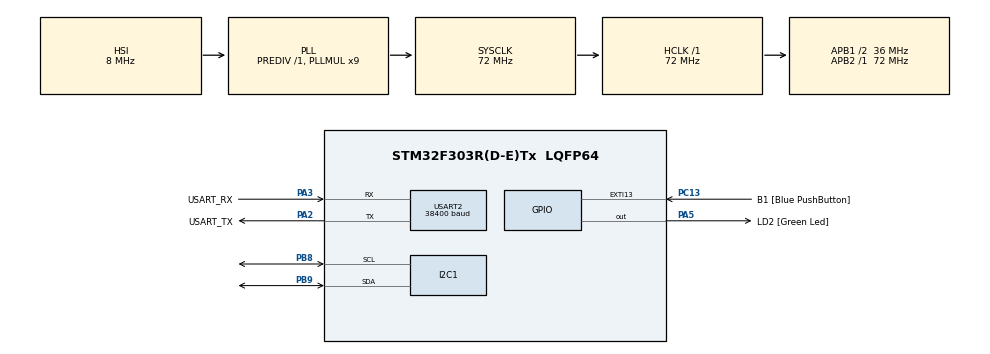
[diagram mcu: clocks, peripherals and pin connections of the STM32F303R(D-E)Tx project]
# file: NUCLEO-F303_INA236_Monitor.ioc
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I2C1.Timing=0x00201D2B
Mcu.Family=STM32F3
Mcu.Name=STM32F303R(D-E)Tx
Mcu.Package=LQFP64
NVIC.PriorityGroup=NVIC_PRIORITYGROUP_0
NVIC.USART2_IRQn=true\:0\:0\:false\:false\:true\:true\:true\:true
PA13.GPIO_Label=TMS
PA13.Mode=Serial_Wire
PA13.Signal=SYS_JTMS-SWDIO
PA14.GPIO_Label=TCK
PA14.Mode=Serial_Wire
PA14.Signal=SYS_JTCK-SWCLK
PA2.GPIO_Label=USART_TX
PA2.GPIO_Mode=GPIO_MODE_AF_PP
PA2.GPIO_PuPd=GPIO_NOPULL
PA2.GPIO_Speed=GPIO_SPEED_FREQ_LOW
PA2.Mode=Asynchronous
PA2.Signal=USART2_TX
PA3.GPIO_Label=USART_RX
PA3.GPIO_Mode=GPIO_MODE_AF_PP
PA3.GPIO_PuPd=GPIO_NOPULL
PA3.GPIO_Speed=GPIO_SPEED_FREQ_LOW
PA3.Mode=Asynchronous
PA3.Signal=USART2_RX
PA5.GPIO_Label=LD2 [Green Led]
PA5.GPIO_Mode=GPIO_MODE_OUTPUT_PP
PA5.GPIO_PuPd=GPIO_NOPULL
PA5.GPIO_Speed=GPIO_SPEED_FREQ_LOW
PA5.Signal=GPIO_Output
PB3.GPIO_Label=SWO
PB3.Signal=SYS_JTDO-TRACESWO
PB8.Mode=I2C
PB8.Signal=I2C1_SCL
PB9.Mode=I2C
PB9.Signal=I2C1_SDA
PC13.GPIO_Label=B1 [Blue PushButton]
PC13.GPIO_ModeDefaultEXTI=GPIO_MODE_IT_FALLING
PC13.Signal=GPXTI13
PC14-OSC32_IN.Mode=LSE-External-Oscillator
PC14-OSC32_IN.Signal=RCC_OSC32_IN
PC15-OSC32_OUT.Mode=LSE-External-Oscillator
PC15-OSC32_OUT.Signal=RCC_OSC32_OUT
PF0-OSC_IN.Mode=HSE-External-Clock-Source
PF0-OSC_IN.Signal=RCC_OSC_IN
PF1-OSC_OUT.Signal=RCC_OSC_OUT
ProjectManager.HeapSize=0x200
ProjectManager.StackSize=0x400
ProjectManager.TargetToolchain=CMake
RCC.AHBFreq_Value=72000000
RCC.APB1CLKDivider=RCC_HCLK_DIV2
RCC.APB1Freq_Value=36000000
RCC.APB1TimFreq_Value=72000000
RCC.APB2Freq_Value=72000000
RCC.APB2TimFreq_Value=72000000
RCC.CortexFreq_Value=72000000
RCC.HCLKFreq_Value=72000000
RCC.HSE_VALUE=8000000
RCC.HSI_VALUE=8000000
RCC.PLLM=8
RCC.PLLMUL=RCC_PLL_MUL9
RCC.PLLN=336
RCC.PLLP=RCC_PLLP_DIV4
RCC.PLLQ=7
RCC.RCC_PLLsource_Clock_Source_FROM_HSE=RCC_HSE_PREDIV_DIV2
RCC.SYSCLKFreq_VALUE=72000000
RCC.SYSCLKSourceVirtual=RCC_SYSCLKSOURCE_PLLCLK
RCC.USBFreq_Value=72000000
USART2.BaudRate=38400
USART2.VirtualMode-Asynchronous=VM_ASYNC
board=NUCLEO-F303RE

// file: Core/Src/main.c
/* USER CODE BEGIN Header */
/**
  ******************************************************************************
  * @file           : main.c
  * @brief          : Main program body
  ******************************************************************************
  * @attention
  *
  * Copyright (c) 2026 STMicroelectronics.
  * All rights reserved.
  *
  * This software is licensed under terms that can be found in the LICENSE file
  * in the root directory of this software component.
  * If no LICENSE file comes with this software, it is provided AS-IS.
  *
  ******************************************************************************
  */
/* USER CODE END Header */
#include "main.h"

/* USER CODE BEGIN Includes */
#include <INA236.h>
#include <stdio.h>
#include <string.h>
/* USER CODE END Includes */

/* USER CODE BEGIN PTD */
INA236_HandleTypeDef ina236;
/* USER CODE END PTD */

/* USER CODE BEGIN PD */
#define RX_BUFFER_SIZE 64
/* USER CODE END PD */

I2C_HandleTypeDef hi2c1;

UART_HandleTypeDef huart2;

/* USER CODE BEGIN PV */
__IO ITStatus UartReady = SET;

// Variables used to set calibration register
static int maxCurrent       = 2;
static double shuntResistor = 0.01;

// output parameters
static double shuntVoltage  = 0.0;
static double busVoltage    = 0.0;
static double current       = 0.0;
static double power         = 0.0;

// variable used to know is the device is ready to read the registers
_Bool dataReady             = 0;

char shuntVoltageStr[50];
char busVoltageStr[50];
char loadVoltageStr[50];
char currentStr[50];
char powerStr[50];

// Definir el bucle de recepción y la variable de control
char rxBuffer[RX_BUFFER_SIZE];
uint8_t rxIndex = 0;

uint8_t rxByte = 0;
volatile _Bool commandReady = 0;
/* USER CODE END PV */

void SystemClock_Config(void);
static void MX_GPIO_Init(void);
static void MX_I2C1_Init(void);
static void MX_USART2_UART_Init(void);
/* USER CODE BEGIN PFP */
void checkUartInput(void);
/* USER CODE END PFP */

int main(void)
{

  /* MCU Configuration--------------------------------------------------------*/

  /* Reset of all peripherals, Initializes the Flash interface and the Systick. */
  HAL_Init();

  /* Configure the system clock */
  SystemClock_Config();

  /* Initialize all configured peripherals */
  MX_GPIO_Init();
  MX_I2C1_Init();
  MX_USART2_UART_Init();
  /* USER CODE BEGIN 2 */
  /* Enable USART2 interrupt */
  HAL_NVIC_SetPriority(USART2_IRQn, 0, 0);
  HAL_NVIC_EnableIRQ(USART2_IRQn);

  INA236_Init(&ina236, &hi2c1, INA236_DEFAULT_ADDRESS);
  INA236_SetAverage(&ina236, INA236_256_SAMPLES);
  INA236_SetCalibration(&ina236, shuntResistor, maxCurrent);

  HAL_UART_Receive_IT(&huart2, &rxByte, 1);
  /* USER CODE END 2 */

  /* Infinite loop */
  /* USER CODE BEGIN WHILE */
  while (1)
  {

    // Verificar si se ha recibido algún comando de calibración desde el frontend
    checkUartInput();

    dataReady = INA236_IsConversionReady(&ina236);
	  if (dataReady)
    {
		  shuntVoltage = INA236_GetShuntVoltage_mV(&ina236);
		  busVoltage   = INA236_GetBusVoltage(&ina236);
		  current      = INA236_GetCurrent_A(&ina236);
		  power        = INA236_GetPower_W(&ina236);

      sprintf(shuntVoltageStr, "Shunt Voltage = %.4f mV\r\n", shuntVoltage);
		  HAL_UART_Transmit(&huart2, (uint8_t *)shuntVoltageStr, strlen(shuntVoltageStr), 10);

      sprintf(busVoltageStr, "Bus Voltage = %.2fV\r\n", busVoltage);
      HAL_UART_Transmit(&huart2, (uint8_t *)busVoltageStr, strlen(busVoltageStr), 10);

		  sprintf(currentStr, "Current = %.4f A\r\n", current);
		  HAL_UART_Transmit(&huart2, (uint8_t *)currentStr, strlen(currentStr), 10);

		  sprintf(powerStr, "Power = %.4f W\r\n", power);
		  HAL_UART_Transmit(&huart2, (uint8_t *)powerStr, strlen(powerStr), 10);
	  }
    /* USER CODE END WHILE */

  }
}

void SystemClock_Config(void)
{
  RCC_OscInitTypeDef RCC_OscInitStruct = {0};
  RCC_ClkInitTypeDef RCC_ClkInitStruct = {0};
  RCC_PeriphCLKInitTypeDef PeriphClkInit = {0};

  /** Initializes the RCC Oscillators according to the specified parameters
  * in the RCC_OscInitTypeDef structure.
  */
  RCC_OscInitStruct.OscillatorType = RCC_OSCILLATORTYPE_HSI;
  RCC_OscInitStruct.HSIState = RCC_HSI_ON;
  RCC_OscInitStruct.HSICalibrationValue = RCC_HSICALIBRATION_DEFAULT;
  RCC_OscInitStruct.PLL.PLLState = RCC_PLL_ON;
  RCC_OscInitStruct.PLL.PLLSource = RCC_PLLSOURCE_HSI;
  RCC_OscInitStruct.PLL.PLLMUL = RCC_PLL_MUL9;
  RCC_OscInitStruct.PLL.PREDIV = RCC_PREDIV_DIV1;
  if (HAL_RCC_OscConfig(&RCC_OscInitStruct) != HAL_OK)
  {
    Error_Handler();
  }

  /** Initializes the CPU, AHB and APB buses clocks
  */
  RCC_ClkInitStruct.ClockType = RCC_CLOCKTYPE_HCLK|RCC_CLOCKTYPE_SYSCLK
                              |RCC_CLOCKTYPE_PCLK1|RCC_CLOCKTYPE_PCLK2;
  RCC_ClkInitStruct.SYSCLKSource = RCC_SYSCLKSOURCE_PLLCLK;
  RCC_ClkInitStruct.AHBCLKDivider = RCC_SYSCLK_DIV1;
  RCC_ClkInitStruct.APB1CLKDivider = RCC_HCLK_DIV2;
  RCC_ClkInitStruct.APB2CLKDivider = RCC_HCLK_DIV1;

  if (HAL_RCC_ClockConfig(&RCC_ClkInitStruct, FLASH_LATENCY_2) != HAL_OK)
  {
    Error_Handler();
  }
  PeriphClkInit.PeriphClockSelection = RCC_PERIPHCLK_USART2|RCC_PERIPHCLK_I2C1;
  PeriphClkInit.Usart2ClockSelection = RCC_USART2CLKSOURCE_PCLK1;
  PeriphClkInit.I2c1ClockSelection = RCC_I2C1CLKSOURCE_HSI;
  if (HAL_RCCEx_PeriphCLKConfig(&PeriphClkInit) != HAL_OK)
  {
    Error_Handler();
  }
}

static void MX_I2C1_Init(void)
{

  hi2c1.Instance = I2C1;
  hi2c1.Init.Timing = 0x00201D2B;
  hi2c1.Init.OwnAddress1 = 0;
  hi2c1.Init.AddressingMode = I2C_ADDRESSINGMODE_7BIT;
  hi2c1.Init.DualAddressMode = I2C_DUALADDRESS_DISABLE;
  hi2c1.Init.OwnAddress2 = 0;
  hi2c1.Init.OwnAddress2Masks = I2C_OA2_NOMASK;
  hi2c1.Init.GeneralCallMode = I2C_GENERALCALL_DISABLE;
  hi2c1.Init.NoStretchMode = I2C_NOSTRETCH_DISABLE;
  if (HAL_I2C_Init(&hi2c1) != HAL_OK)
  {
    Error_Handler();
  }

  /** Configure Analogue filter
  */
  if (HAL_I2CEx_ConfigAnalogFilter(&hi2c1, I2C_ANALOGFILTER_ENABLE) != HAL_OK)
  {
    Error_Handler();
  }

  /** Configure Digital filter
  */
  if (HAL_I2CEx_ConfigDigitalFilter(&hi2c1, 0) != HAL_OK)
  {
    Error_Handler();
  }

}

static void MX_USART2_UART_Init(void)
{

  huart2.Instance = USART2;
  huart2.Init.BaudRate = 38400;
  huart2.Init.WordLength = UART_WORDLENGTH_8B;
  huart2.Init.StopBits = UART_STOPBITS_1;
  huart2.Init.Parity = UART_PARITY_NONE;
  huart2.Init.Mode = UART_MODE_TX_RX;
  huart2.Init.HwFlowCtl = UART_HWCONTROL_NONE;
  huart2.Init.OverSampling = UART_OVERSAMPLING_16;
  huart2.Init.OneBitSampling = UART_ONE_BIT_SAMPLE_DISABLE;
  huart2.AdvancedInit.AdvFeatureInit = UART_ADVFEATURE_NO_INIT;
  if (HAL_UART_Init(&huart2) != HAL_OK)
  {
    Error_Handler();
  }

}

static void MX_GPIO_Init(void)
{
  GPIO_InitTypeDef GPIO_InitStruct = {0};

  /* GPIO Ports Clock Enable */
  __HAL_RCC_GPIOC_CLK_ENABLE();
  __HAL_RCC_GPIOF_CLK_ENABLE();
  __HAL_RCC_GPIOA_CLK_ENABLE();
  __HAL_RCC_GPIOB_CLK_ENABLE();

  /*Configure GPIO pin Output Level */
  HAL_GPIO_WritePin(LD2_GPIO_Port, LD2_Pin, GPIO_PIN_RESET);

  /*Configure GPIO pin : B1_Pin */
  GPIO_InitStruct.Pin = B1_Pin;
  GPIO_InitStruct.Mode = GPIO_MODE_IT_FALLING;
  GPIO_InitStruct.Pull = GPIO_NOPULL;
  HAL_GPIO_Init(B1_GPIO_Port, &GPIO_InitStruct);

  /*Configure GPIO pin : LD2_Pin */
  GPIO_InitStruct.Pin = LD2_Pin;
  GPIO_InitStruct.Mode = GPIO_MODE_OUTPUT_PP;
  GPIO_InitStruct.Pull = GPIO_NOPULL;
  GPIO_InitStruct.Speed = GPIO_SPEED_FREQ_LOW;
  HAL_GPIO_Init(LD2_GPIO_Port, &GPIO_InitStruct);

}

/* USER CODE BEGIN 4 */
// Esta función se ejecuta automáticamente en segundo plano CADA vez que llega un byte por UART
void HAL_UART_RxCpltCallback(UART_HandleTypeDef *huart)
{
  if (huart->Instance == USART2)
  {
    // Detectar fin de línea (\n o \r)
    if (rxByte == '\n' || rxByte == '\r')
    {
      if (rxIndex > 0)
      {
        rxBuffer[rxIndex] = '\0'; // Terminar cadena de texto C
        commandReady = 1;         // Indicar al bucle principal que hay un comando completo listo
      }
    }
    else
    {
      // Almacenar carácter y prevenir desbordamientos de búfer
      if (rxIndex < RX_BUFFER_SIZE - 1)
      {
        rxBuffer[rxIndex++] = (char)rxByte;
      }
      else
      {
        rxIndex = 0; // Descartar si excede tamaño
      }
    }
    // Volver a activar la interrupción para poder recibir el siguiente caracter
    HAL_UART_Receive_IT(&huart2, &rxByte, 1);
  }
}

// Callback de error para evitar que la interrupción se congele permanentemente si ocurre un error ORE (Overrun)
void HAL_UART_ErrorCallback(UART_HandleTypeDef *huart)
{
  if (huart->Instance == USART2)
  {
    // Limpiar banderas de error por hardware
    __HAL_UART_CLEAR_OREFLAG(huart);
    __HAL_UART_CLEAR_NEFLAG(huart);
    __HAL_UART_CLEAR_FEFLAG(huart);
    // Volver a habilitar la interrupción
    HAL_UART_Receive_IT(huart, &rxByte, 1);
  }
}
// Esta función es llamada en el bucle principal. Procesa el comando solo cuando la bandera indica que está listo.
void checkUartInput(void)
{
  if (commandReady)
  {
    // Transmitir de vuelta a la consola del PC el texto exacto recibido para depuración
    char debugRawStr[110];
    sprintf(debugRawStr, "[STM32 Debug] Cadena recibida cruda: \"%s\"\r\n", rxBuffer);
    HAL_UART_Transmit(&huart2, (uint8_t *)debugRawStr, strlen(debugRawStr), HAL_MAX_DELAY);

    int max_i = 0;
    double shunt_r = 0.0;
    // Parsear el comando desde el búfer que llenó la interrupción
    if (sscanf(rxBuffer, "SET:%d:%lf", &max_i, &shunt_r) == 2)
    {
      if (max_i >= 1 && max_i <= 100 && shunt_r > 0.0)
      {
        maxCurrent = max_i;
        shuntResistor = shunt_r;

        // Volver a calibrar físicamente el sensor INA236
        INA236_SetCalibration(&ina236, shuntResistor, maxCurrent);

        // Transmitir confirmación de vuelta hacia la PC
        char confirmStr[100];
        sprintf(confirmStr, "[STM32] Calibracion actualizada: Max=%d A, Shunt=%.6f Ohms\r\n", maxCurrent, shuntResistor);
        HAL_UART_Transmit(&huart2, (uint8_t *)confirmStr, strlen(confirmStr), HAL_MAX_DELAY);
      }
    }
    // Limpiar variables de control para la próxima recepción
    rxIndex = 0;
    commandReady = 0;
  }
}
/* USER CODE END 4 */

void Error_Handler(void)
{
  __disable_irq();
  while (1)
  {
  }
}
